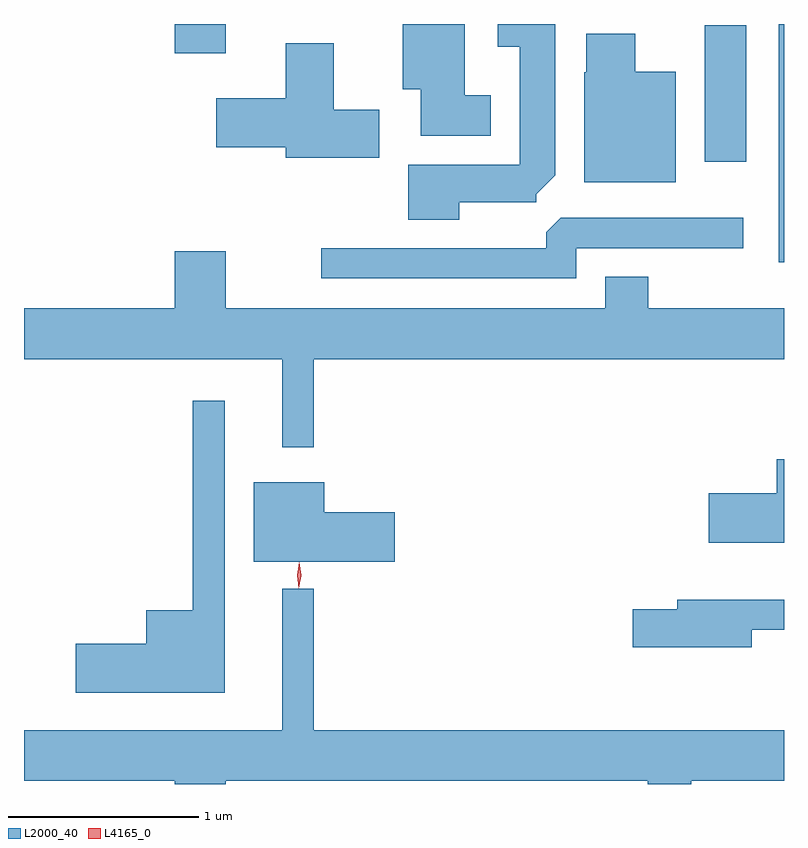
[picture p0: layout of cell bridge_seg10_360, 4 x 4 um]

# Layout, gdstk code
import gdstk
lib = gdstk.Library(unit=1e-6, precision=1e-09)
def R(c, l, rs):  # rectangles x0, y0, x1, y1
    for r in rs: c.add(gdstk.rectangle(r[:2], r[2:], *l))
def P(c, l, *ps):  # polygons
    for p in ps: c.add(gdstk.Polygon(p, *l))
L2000_40 = (2000, 40)
L4165_0 = (4165, 0)

bridge_seg10_360 = lib.new_cell('bridge_seg10_360')
R(bridge_seg10_360, L2000_40, [(1217.256,2152.166,1217.283,2153.42), (1216.866,2152.696,1217.084,2153.414), (1214.076,2153.266,1214.344,2153.42)])
P(bridge_seg10_360, L2000_40, [(1215.739,2153.044),(1215.604,2153.044),(1215.604,2153.42),(1215.276,2153.42),(1215.276,2153.076),(1215.371,2153.076),(1215.371,2152.831),(1215.739,2152.831)],
  [(1215.574,2152.481),(1215.979,2152.481),(1215.979,2152.524),(1216.079,2152.624),(1216.079,2153.42),(1215.776,2153.42),(1215.776,2153.301),(1215.891,2153.301),(1215.891,2152.679),(1215.306,2152.679),(1215.306,2152.391),(1215.574,2152.391)],
  [(1216.714,2153.169),(1216.499,2153.169),(1216.499,2153.369),(1216.241,2153.369),(1216.241,2153.165),(1216.231,2153.165),(1216.231,2152.586),(1216.714,2152.586)],
  [(1215.154,2152.969),(1214.914,2152.969),(1214.914,2153.319),(1214.661,2153.319),(1214.661,2153.029),(1214.296,2153.029),(1214.296,2152.771),(1214.661,2152.771),(1214.661,2152.716),(1215.154,2152.716)],
  [(1216.189,2152.241),(1217.068,2152.241),(1217.068,2152.399),(1216.107,2152.399),(1216.031,2152.324),(1216.031,2152.239),(1214.848,2152.239),(1214.848,2152.081),(1216.189,2152.081)],
  [(1214.809,2151.656),(1217.283,2151.656),(1217.283,2151.924),(1216.569,2151.924),(1216.569,2152.089),(1216.341,2152.089),(1216.341,2151.924),(1214.344,2151.924),(1214.344,2152.224),(1214.076,2152.224),(1214.076,2151.924),(1213.283,2151.924),(1213.283,2151.656),(1214.641,2151.656),(1214.641,2151.193),(1214.809,2151.193)],
  [(1214.339,2151.438),(1214.171,2151.438),(1214.171,2150.334),(1213.926,2150.334),(1213.926,2150.159),(1213.556,2150.159),(1213.556,2149.901),(1214.339,2149.901)],
  [(1217.283,2151.129),(1217.246,2151.129),(1217.246,2150.949),(1216.886,2150.949),(1216.886,2150.691),(1217.283,2150.691)],
  [(1215.234,2150.849),(1214.864,2150.849),(1214.864,2151.009),(1214.491,2151.009),(1214.491,2150.591),(1215.234,2150.591)],
  [(1214.344,2149.436),(1216.566,2149.436),(1216.566,2149.42),(1216.794,2149.42),(1216.794,2149.436),(1217.283,2149.436),(1217.283,2149.704),(1214.809,2149.704),(1214.809,2150.448),(1214.641,2150.448),(1214.641,2149.704),(1213.283,2149.704),(1213.283,2149.436),(1214.076,2149.436),(1214.076,2149.42),(1214.344,2149.42)],
  [(1217.114,2150.231),(1217.283,2150.231),(1217.283,2150.389),(1216.721,2150.389),(1216.721,2150.339),(1216.486,2150.339),(1216.486,2150.141),(1217.114,2150.141)])
P(bridge_seg10_360, L4165_0, [(1214.729,2150.45),(1214.721,2150.518),(1214.731,2150.586),(1214.732,2150.586),(1214.732,2150.586),(1214.741,2150.518),(1214.73,2150.45),(1214.73,2150.45)],
  [(1214.73,2150.453),(1214.729,2150.454),(1214.721,2150.516),(1214.731,2150.579),(1214.732,2150.58),(1214.732,2150.579),(1214.741,2150.516),(1214.73,2150.454)])

lib.write_gds('bridge_seg10_360.gds')
